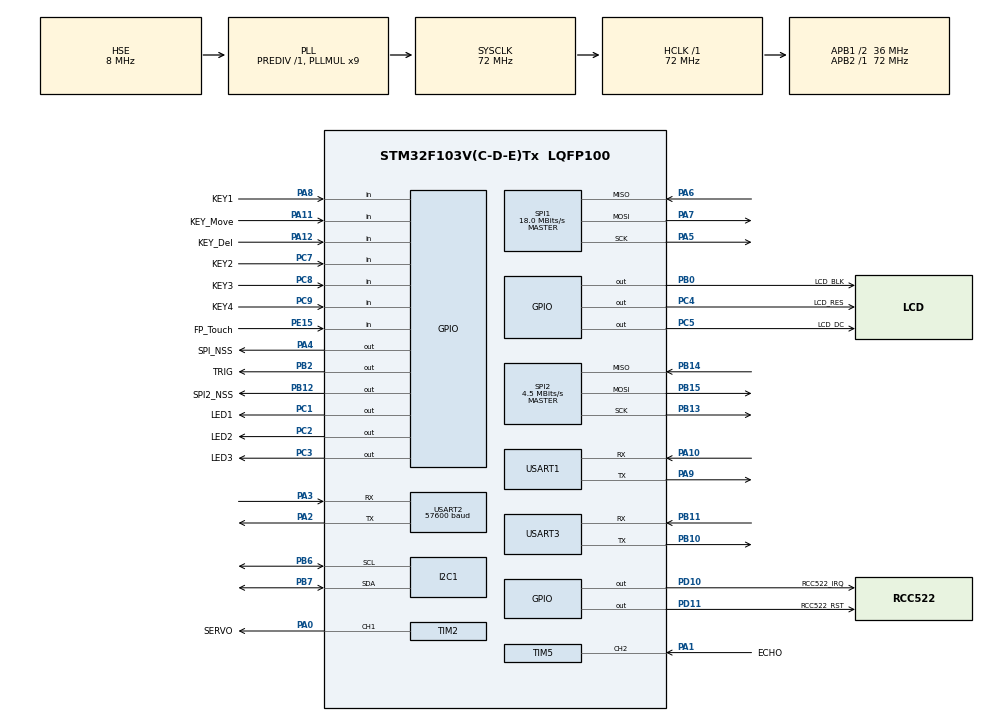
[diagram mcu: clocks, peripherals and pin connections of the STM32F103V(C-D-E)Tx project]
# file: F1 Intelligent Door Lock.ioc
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Dma.Request0=USART3_RX
Dma.Request1=USART3_TX
Dma.USART3_RX.0.Direction=DMA_PERIPH_TO_MEMORY
Dma.USART3_RX.0.Instance=DMA1_Channel3
Dma.USART3_RX.0.MemDataAlignment=DMA_MDATAALIGN_BYTE
Dma.USART3_RX.0.MemInc=DMA_MINC_ENABLE
Dma.USART3_RX.0.Mode=DMA_NORMAL
Dma.USART3_RX.0.PeriphDataAlignment=DMA_PDATAALIGN_BYTE
Dma.USART3_RX.0.PeriphInc=DMA_PINC_DISABLE
Dma.USART3_RX.0.Priority=DMA_PRIORITY_LOW
Dma.USART3_TX.1.Direction=DMA_MEMORY_TO_PERIPH
Dma.USART3_TX.1.Instance=DMA1_Channel2
Dma.USART3_TX.1.MemDataAlignment=DMA_MDATAALIGN_BYTE
Dma.USART3_TX.1.MemInc=DMA_MINC_ENABLE
Dma.USART3_TX.1.Mode=DMA_NORMAL
Dma.USART3_TX.1.PeriphDataAlignment=DMA_PDATAALIGN_BYTE
Dma.USART3_TX.1.PeriphInc=DMA_PINC_DISABLE
Dma.USART3_TX.1.Priority=DMA_PRIORITY_LOW
Mcu.Family=STM32F1
Mcu.Name=STM32F103V(C-D-E)Tx
Mcu.Package=LQFP100
NVIC.DMA1_Channel2_IRQn=true\:0\:0\:false\:false\:true\:false\:true\:true
NVIC.DMA1_Channel3_IRQn=true\:0\:0\:false\:false\:true\:false\:true\:true
NVIC.I2C1_ER_IRQn=true\:0\:0\:false\:false\:true\:true\:true\:true
NVIC.I2C1_EV_IRQn=true\:0\:0\:false\:false\:true\:true\:true\:true
NVIC.PriorityGroup=NVIC_PRIORITYGROUP_4
NVIC.RCC_IRQn=true\:0\:0\:false\:false\:true\:true\:false\:true
NVIC.SPI1_IRQn=true\:0\:0\:false\:false\:true\:true\:true\:true
NVIC.SPI2_IRQn=true\:0\:0\:false\:false\:true\:true\:true\:true
NVIC.TIM2_IRQn=true\:0\:0\:false\:false\:true\:true\:true\:true
NVIC.TIM4_IRQn=true\:0\:0\:false\:false\:true\:true\:true\:true
NVIC.TIM5_IRQn=true\:0\:0\:false\:false\:true\:true\:true\:true
NVIC.USART1_IRQn=true\:0\:0\:false\:false\:true\:true\:true\:true
NVIC.USART2_IRQn=true\:0\:0\:false\:false\:true\:true\:true\:true
NVIC.USART3_IRQn=true\:0\:0\:false\:false\:true\:true\:true\:true
OSC_IN.Mode=HSE-External-Oscillator
OSC_IN.Signal=RCC_OSC_IN
OSC_OUT.Mode=HSE-External-Oscillator
OSC_OUT.Signal=RCC_OSC_OUT
PA0-WKUP.GPIO_Label=SERVO
PA0-WKUP.Signal=S_TIM2_CH1_ETR
PA1.GPIO_Label=ECHO
PA1.Signal=S_TIM5_CH2
PA10.Mode=Asynchronous
PA10.Signal=USART1_RX
PA11.GPIO_Label=KEY_Move
PA11.GPIO_PuPd=GPIO_PULLUP
PA11.Signal=GPIO_Input
PA12.GPIO_Label=KEY_Del
PA12.GPIO_PuPd=GPIO_PULLUP
PA12.Signal=GPIO_Input
PA13.Mode=Serial_Wire
PA13.Signal=SYS_JTMS-SWDIO
PA14.Mode=Serial_Wire
PA14.Signal=SYS_JTCK-SWCLK
PA2.Mode=Asynchronous
PA2.Signal=USART2_TX
PA3.Mode=Asynchronous
PA3.Signal=USART2_RX
PA4.GPIO_Label=SPI_NSS
PA4.GPIO_Speed=GPIO_SPEED_FREQ_MEDIUM
PA4.PinState=GPIO_PIN_SET
PA4.Signal=GPIO_Output
PA5.Mode=Full_Duplex_Master
PA5.Signal=SPI1_SCK
PA6.Mode=Full_Duplex_Master
PA6.Signal=SPI1_MISO
PA7.Mode=Full_Duplex_Master
PA7.Signal=SPI1_MOSI
PA8.GPIO_Label=KEY1
PA8.GPIO_PuPd=GPIO_PULLUP
PA8.Signal=GPIO_Input
PA9.Mode=Asynchronous
PA9.Signal=USART1_TX
PB0.GPIO_Label=LCD_BLK
PB0.GPIO_Speed=GPIO_SPEED_FREQ_MEDIUM
PB0.PinState=GPIO_PIN_SET
PB0.Signal=GPIO_Output
PB10.Mode=Asynchronous
PB10.Signal=USART3_TX
PB11.Mode=Asynchronous
PB11.Signal=USART3_RX
PB12.GPIO_Label=SPI2_NSS
PB12.GPIO_Speed=GPIO_SPEED_FREQ_HIGH
PB12.PinState=GPIO_PIN_SET
PB12.Signal=GPIO_Output
PB13.Mode=Full_Duplex_Master
PB13.Signal=SPI2_SCK
PB14.Mode=Full_Duplex_Master
PB14.Signal=SPI2_MISO
PB15.Mode=Full_Duplex_Master
PB15.Signal=SPI2_MOSI
PB2.GPIO_Label=TRIG
PB2.Signal=GPIO_Output
PB6.Mode=I2C
PB6.Signal=I2C1_SCL
PB7.Mode=I2C
PB7.Signal=I2C1_SDA
PC1.GPIO_Label=LED1
PC1.GPIO_Speed=GPIO_SPEED_FREQ_MEDIUM
PC1.PinState=GPIO_PIN_SET
PC1.Signal=GPIO_Output
PC14-OSC32_IN.Mode=LSE-External-Oscillator
PC14-OSC32_IN.Signal=RCC_OSC32_IN
PC15-OSC32_OUT.Mode=LSE-External-Oscillator
PC15-OSC32_OUT.Signal=RCC_OSC32_OUT
PC2.GPIO_Label=LED2
PC2.GPIO_Speed=GPIO_SPEED_FREQ_MEDIUM
PC2.PinState=GPIO_PIN_SET
PC2.Signal=GPIO_Output
PC3.GPIO_Label=LED3
PC3.GPIO_Speed=GPIO_SPEED_FREQ_MEDIUM
PC3.PinState=GPIO_PIN_SET
PC3.Signal=GPIO_Output
PC4.GPIO_Label=LCD_RES
PC4.Signal=GPIO_Output
PC5.GPIO_Label=LCD_DC
PC5.GPIO_Speed=GPIO_SPEED_FREQ_MEDIUM
PC5.PinState=GPIO_PIN_SET
PC5.Signal=GPIO_Output
PC7.GPIO_Label=KEY2
PC7.GPIO_PuPd=GPIO_PULLUP
PC7.Signal=GPIO_Input
PC8.GPIO_Label=KEY3
PC8.Signal=GPIO_Input
PC9.GPIO_Label=KEY4
PC9.GPIO_PuPd=GPIO_PULLUP
PC9.Signal=GPIO_Input
PD10.GPIO_Label=RCC522_IRQ
PD10.GPIO_Speed=GPIO_SPEED_FREQ_HIGH
PD10.PinState=GPIO_PIN_SET
PD10.Signal=GPIO_Output
PD11.GPIO_Label=RCC522_RST
PD11.GPIO_Speed=GPIO_SPEED_FREQ_HIGH
PD11.PinState=GPIO_PIN_SET
PD11.Signal=GPIO_Output
PE15.GPIO_Label=FP_Touch
PE15.GPIO_PuPd=GPIO_PULLDOWN
PE15.Signal=GPIO_Input
ProjectManager.HeapSize=0x200
ProjectManager.StackSize=0x400
ProjectManager.TargetToolchain=MDK-ARM V5.32
RCC.AHBFreq_Value=72000000
RCC.APB1CLKDivider=RCC_HCLK_DIV2
RCC.APB1Freq_Value=36000000
RCC.APB1TimFreq_Value=72000000
RCC.APB2Freq_Value=72000000
RCC.APB2TimFreq_Value=72000000
RCC.HCLKFreq_Value=72000000
RCC.PLLMUL=RCC_PLL_MUL9
RCC.PLLSourceVirtual=RCC_PLLSOURCE_HSE
RCC.SYSCLKFreq_VALUE=72000000
RCC.SYSCLKSource=RCC_SYSCLKSOURCE_PLLCLK
RCC.USBFreq_Value=72000000
SH.S_TIM2_CH1_ETR.0=TIM2_CH1,PWM Generation1 CH1
SH.S_TIM5_CH2.0=TIM5_CH2,Input_Capture2_from_TI2
SPI1.BaudRatePrescaler=SPI_BAUDRATEPRESCALER_4
SPI1.CalculateBaudRate=18.0 MBits/s
SPI1.Direction=SPI_DIRECTION_2LINES
SPI1.Mode=SPI_MODE_MASTER
SPI1.VirtualType=VM_MASTER
SPI2.BaudRatePrescaler=SPI_BAUDRATEPRESCALER_8
SPI2.CalculateBaudRate=4.5 MBits/s
SPI2.Direction=SPI_DIRECTION_2LINES
SPI2.Mode=SPI_MODE_MASTER
SPI2.VirtualType=VM_MASTER
TIM2.AutoReloadPreload=TIM_AUTORELOAD_PRELOAD_ENABLE
TIM2.Channel-PWM\ Generation1\ CH1=TIM_CHANNEL_1
TIM2.Period=1999
TIM2.Prescaler=719
TIM4.AutoReloadPreload=TIM_AUTORELOAD_PRELOAD_ENABLE
TIM4.Period=9999
TIM4.Prescaler=7199
TIM5.Channel-Input_Capture2_from_TI2=TIM_CHANNEL_2
TIM5.Prescaler=72-1
USART1.VirtualMode=VM_ASYNC
USART2.BaudRate=57600
USART2.VirtualMode=VM_ASYNC
USART3.VirtualMode=VM_ASYNC
VP_TIM2_VS_ClockSourceINT.Mode=Internal
VP_TIM4_VS_ClockSourceINT.Mode=Internal
board=custom

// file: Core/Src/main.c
/* USER CODE BEGIN Header */
/**
 ******************************************************************************
 * @file           : main.c
 * @brief          : Main program body
 ******************************************************************************
 * @attention
 *
 * Copyright (c) 2024 STMicroelectronics.
 * All rights reserved.
 *
 * This software is licensed under terms that can be found in the LICENSE file
 * in the root directory of this software component.
 * If no LICENSE file comes with this software, it is provided AS-IS.
 *
 ******************************************************************************
 */
/* USER CODE END Header */
#include "main.h"
#include "dma.h"
#include "i2c.h"
#include "spi.h"
#include "tim.h"
#include "usart.h"
#include "gpio.h"

/* USER CODE BEGIN Includes */
#include "Delay.h"
#include "LED.h"
#include "KEY.h"
#include "LCD.h"
#include "AS608.h"
#include "Servo.h"
#include "RC522.h"
#include "HCSR04.h"
#include "HC05.h"
#include "StmFlash.h"
/* USER CODE END Includes */

/* USER CODE BEGIN PV */
static uint8_t Task;
uint8_t Key_Change_num;
uint8_t Keynum;
float Servo_Angle;
/* USER CODE END PV */

void SystemClock_Config(void);

/* USER CODE BEGIN 0 */
void Door_Open(void)
{
  LED1_OFF();
  LED2_OFF();
  LED3_ON();
  Delay_ms(500);
  LCD_Fill(-10, -10, 240, 240, WHITE);
  LCD_ShowString(20, 64, "Door Open", GREEN, WHITE, LCD_8x16, 0);
  Servo_OpenDoor();
  Delay_ms(5000);
  LCD_Fill(-10, -10, 240, 240, WHITE);
}
void Door_Error(void)
{
  LED1_ON();
  LED2_OFF();
  LED3_OFF();
  Delay_ms(500);
  LCD_Fill(-10, -10, 240, 240, WHITE);
  LCD_ShowString(14, 64, "Confirm Error", RED, WHITE, LCD_8x16, 0);
  Delay_ms(1000);
  LCD_Fill(-10, -10, 240, 240, WHITE);
}

void Door_Close(void)
{
  LED1_OFF();
  LED2_ON();
  LED3_OFF();
  Delay_ms(500);
  // LCD_Fill(-10, -10, 240, 240, WHITE);
  LCD_ShowString(20, 64, "Door Close", BLACK, WHITE, LCD_8x16, 0);
  Servo_CloseDoor();
  Delay_ms(20);
}
/* USER CODE END 0 */

int main(void)
{

  /* MCU Configuration--------------------------------------------------------*/

  /* Reset of all peripherals, Initializes the Flash interface and the Systick. */
  HAL_Init();

  /* Configure the system clock */
  SystemClock_Config();

  /* Initialize all configured peripherals */
  MX_GPIO_Init();
  MX_DMA_Init();
  MX_I2C1_Init();
  MX_SPI1_Init();
  MX_SPI2_Init();
  MX_USART1_UART_Init();
  MX_USART3_UART_Init();
  MX_TIM4_Init();
  MX_USART2_UART_Init();
  MX_TIM2_Init();
  MX_TIM5_Init();
  /* USER CODE BEGIN 2 */
  /*********Password Initation***************************/
  // STMFLASH_Write(FLASH_SAVE_ADDR,(uint16_t*)Initation_PS, 8);//First Initation Password write into flash
  STMFLASH_Read(FLASH_SAVE_ADDR, (uint16_t *)Initation_PS, 8); // Read the password from flash
  /*********LCD Initation***************************/
  LCD_Init();
  // because of my LCD have some problems or LCD doen't match the specification,so start point which I set negative number
  LCD_Fill(-10, -10, 240, 240, WHITE);
  /***********Servo Initation***********************/
  Servo_Init();
  /***********RFID Initation***********************/
  PCD_Init_RST();
  printf("RC522 Initation Completed\n");
  /***********Fingerprint Initation***********************/
  AS608_Init();
  while (PS_HandShake(&AS608Addr)) // shake hand with AS608 module
  {
    printf("Cannot connect with AS608!\r\n");
    Delay_ms(500);
    printf("Try to connect again....\r\n");
    Delay_ms(500);
  }
  printf("AS608 Connection successfully\r\n");
  /***********Ultrasonic Initation***********************/
  Hcsr04Init(&htim5, HCSR04_CHANNEL);
  Hcsr04Start();
  printf("Hcsr04 Initation Completed\r\n");
  /***********BlueTooth Initation***********************/
  BlueTooth_Init();
  printf("BlueTooth Initation Completed\r\n");

  /* USER CODE END 2 */

  /* Infinite loop */
  /* USER CODE BEGIN WHILE */
  while (1)
  {
    if ((Key_Change_num = Key_GetNum()) != 0) // KEY FUNCTION
    {
      Task = 1;
    }
    else if (FP_Touch_Read != RESET) // FINGERPRINT FUNCTION
    {
      Task = 2;
    }
    else if (BlueTooth_RX_STA == SET) // BLUETOOTH FUNCTION
    {
      Task = 3;
    }
    else if (PCD_Request(PICC_REQALL, RC522handle.readUid) == RESET) // CARD FUNCTION
    {
      Task = 4;
    }
    switch (Task)
    {
    case 1:
      KEY_Feedback();
      Task = 0;
      // HCSR04_Detect();//Juage people leave or not to close the door
      break;
    case 2:
      FP_Feedback();
      Task = 0;
      // HCSR04_Detect();
      break;
    case 3:
      Bluetooth_Feedback();
      Task = 0;
      // HCSR04_Detect();
      break;
    case 4:
      Card_Feedback();
      Task = 0;
      // HCSR04_Detect();
      break;
    default:
      Door_Close();
      break;
    }
    /* USER CODE END WHILE */

  }
}

void SystemClock_Config(void)
{
  RCC_OscInitTypeDef RCC_OscInitStruct = {0};
  RCC_ClkInitTypeDef RCC_ClkInitStruct = {0};

  /** Initializes the RCC Oscillators according to the specified parameters
   * in the RCC_OscInitTypeDef structure.
   */
  RCC_OscInitStruct.OscillatorType = RCC_OSCILLATORTYPE_HSE;
  RCC_OscInitStruct.HSEState = RCC_HSE_ON;
  RCC_OscInitStruct.HSEPredivValue = RCC_HSE_PREDIV_DIV1;
  RCC_OscInitStruct.HSIState = RCC_HSI_ON;
  RCC_OscInitStruct.PLL.PLLState = RCC_PLL_ON;
  RCC_OscInitStruct.PLL.PLLSource = RCC_PLLSOURCE_HSE;
  RCC_OscInitStruct.PLL.PLLMUL = RCC_PLL_MUL9;
  if (HAL_RCC_OscConfig(&RCC_OscInitStruct) != HAL_OK)
  {
    Error_Handler();
  }

  /** Initializes the CPU, AHB and APB buses clocks
   */
  RCC_ClkInitStruct.ClockType = RCC_CLOCKTYPE_HCLK | RCC_CLOCKTYPE_SYSCLK | RCC_CLOCKTYPE_PCLK1 | RCC_CLOCKTYPE_PCLK2;
  RCC_ClkInitStruct.SYSCLKSource = RCC_SYSCLKSOURCE_PLLCLK;
  RCC_ClkInitStruct.AHBCLKDivider = RCC_SYSCLK_DIV1;
  RCC_ClkInitStruct.APB1CLKDivider = RCC_HCLK_DIV2;
  RCC_ClkInitStruct.APB2CLKDivider = RCC_HCLK_DIV1;

  if (HAL_RCC_ClockConfig(&RCC_ClkInitStruct, FLASH_LATENCY_2) != HAL_OK)
  {
    Error_Handler();
  }
}

void Error_Handler(void)
{
  __disable_irq();
  while (1)
  {
  }
}
